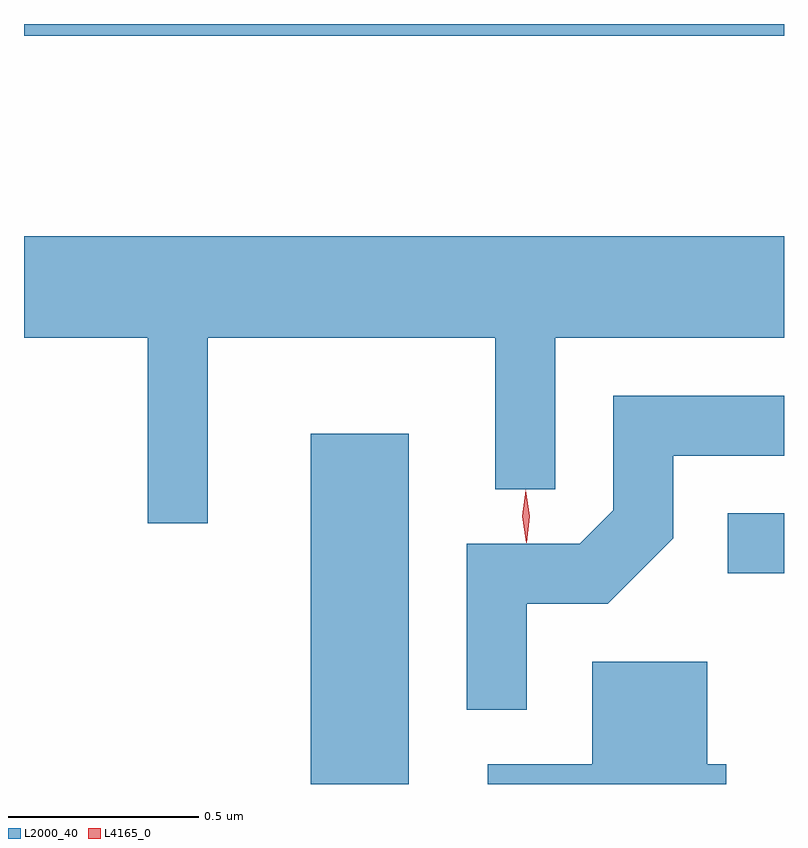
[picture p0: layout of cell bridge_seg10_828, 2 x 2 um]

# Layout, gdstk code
import gdstk
lib = gdstk.Library(unit=1e-6, precision=1e-09)
def R(c, l, rs):  # rectangles x0, y0, x1, y1
    for r in rs: c.add(gdstk.rectangle(r[:2], r[2:], *l))
def P(c, l, *ps):  # polygons
    for p in ps: c.add(gdstk.Polygon(p, *l))
L2000_40 = (2000, 40)
L4165_0 = (4165, 0)

bridge_seg10_828 = lib.new_cell('bridge_seg10_828')
R(bridge_seg10_828, L2000_40, [(426.876,2119.402,427.134,2120.324), (427.973,2119.956,428.121,2120.114), (426.121,2121.371,428.121,2121.402)])
P(bridge_seg10_828, L2000_40, [(426.604,2120.576),(427.361,2120.576),(427.361,2120.178),(427.519,2120.178),(427.519,2120.576),(428.121,2120.576),(428.121,2120.844),(426.121,2120.844),(426.121,2120.576),(426.446,2120.576),(426.446,2120.088),(426.604,2120.088)],
  [(427.444,2119.876),(427.657,2119.876),(427.829,2120.049),(427.829,2120.266),(428.121,2120.266),(428.121,2120.424),(427.671,2120.424),(427.671,2120.122),(427.584,2120.034),(427.286,2120.034),(427.286,2119.598),(427.444,2119.598)],
  [(427.969,2119.454),(427.919,2119.454),(427.919,2119.724),(427.616,2119.724),(427.616,2119.454),(427.341,2119.454),(427.341,2119.402),(427.969,2119.402)])
P(bridge_seg10_828, L4165_0, [(427.443,2120.037),(427.432,2120.106),(427.441,2120.175),(427.441,2120.176),(427.442,2120.175),(427.452,2120.106),(427.444,2120.037),(427.444,2120.037)],
  [(427.443,2120.039),(427.443,2120.039),(427.432,2120.106),(427.441,2120.172),(427.441,2120.172),(427.442,2120.172),(427.452,2120.106),(427.444,2120.039)])

lib.write_gds('bridge_seg10_828.gds')
